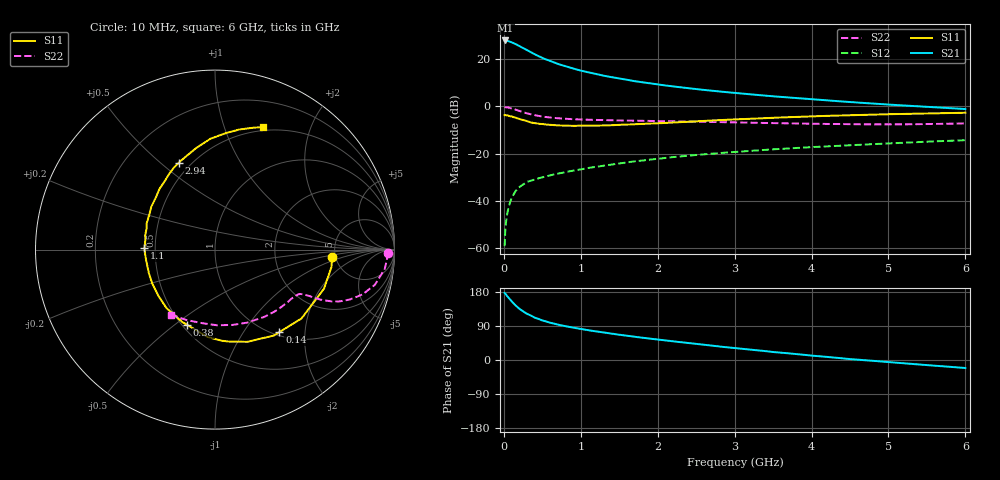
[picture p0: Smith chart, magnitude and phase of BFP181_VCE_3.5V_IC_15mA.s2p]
! Infineon Technologies  Discrete & RF Semiconductors
! BFP181
! VCE = 3.5 V,  IC =  15 mA
! Common Emitter S-Parameters:  Jan 2016
# GHz  S  MA  R  50
!  f  S11  S21  S12  S22
! GHz  MAG  ANG  MAG  ANG  MAG  ANG  MAG  ANG
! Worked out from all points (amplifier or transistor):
!   210 points, 10 MHz to 6 GHz, reference 50 ohm
!   highest |S21| = 27.9 dB at 20 MHz (marker M1)
!   |S21| within 3 dB of that: start of sweep to 235.6 MHz
!   unconditionally stable (mu >= 1): 800 MHz to end of sweep
!   at 185 MHz: K = 0.37, MSG = 30.3 dB, |S12| = -34.7 dB
!   at 1.52 GHz: K = 1.21, MAG = 15.1 dB, |S12| = -24.0 dB
!   at 6 GHz: K = 1.01, MAG = 6.0 dB, |S12| = -14.3 dB
!   S11 on the Smith chart (normalised r, x): 10 MHz: 4.66, -0.70; 140 MHz: 1.06, -1.48; 380 MHz: 0.53, -0.56; 1.1 GHz: 0.44, +0.01; 2.94 GHz: 0.43, +0.58; 6 GHz: 0.46, +1.37
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0.01  0.6533 -3.8  24.83 177.1  0.0011 78.5  0.9634 -1.0
0.02  0.656 -8.5  24.85 174.9  0.0026 89.9  0.9616 -2.4
0.05  0.6451 -19.7  24.42 166.9  0.006 84.4  0.9521 -6.5
0.095  0.6159 -36.6  22.91 156.3  0.0108 72.0  0.9157 -11.8
0.14  0.5831 -52.0  21.29 146.6  0.015 66.0  0.8693 -16.0
0.15  0.5802 -55.6  20.99 144.3  0.0159 65.1  0.8591 -16.9
0.2  0.5446 -70.6  19.04 135.4  0.0195 61.4  0.8033 -20.2
0.22  0.5296 -75.7  18.21 132.6  0.0206 60.1  0.7836 -21.1
0.3  0.4884 -94.9  15.43 122.0  0.0252 55.3  0.7134 -23.9
0.38  0.4471 -110.3  13.18 114.2  0.0278 53.5  0.6626 -25.1
0.5  0.4232 -129.9  10.58 104.4  0.0315 51.4  0.608 -25.9
0.6  0.4072 -141.0  9.149 98.5  0.0347 51.9  0.5794 -26.3
0.8  0.3913 -160.1  7.067 89.2  0.0404 52.1  0.5469 -27.0
1.02  0.3905 -176.6  5.615 81.1  0.0469 53.3  0.5261 -28.4
1.1  0.393 178.5  5.249 78.3  0.0499 53.2  0.5213 -29.1
1.5  0.4079 159.3  3.884 66.7  0.0622 53.3  0.5047 -33.2
2.02  0.4395 138.4  2.876 53.6  0.0783 51.5  0.4901 -40.2
2.94  0.5241 112.7  1.969 32.8  0.1067 45.8  0.4605 -55.5
3.1  0.5375 108.9  1.866 29.7  0.1114 44.6  0.4545 -58.5
4.1  0.6238 90.8  1.38 10.0  0.14 36.9  0.4275 -79.3
5.1  0.6871 77.5  1.068 -7.1  0.1671 29.6  0.416 -102.7
6  0.734 68.4  0.879 -21.2  0.1926 22.3  0.437 -124.0
